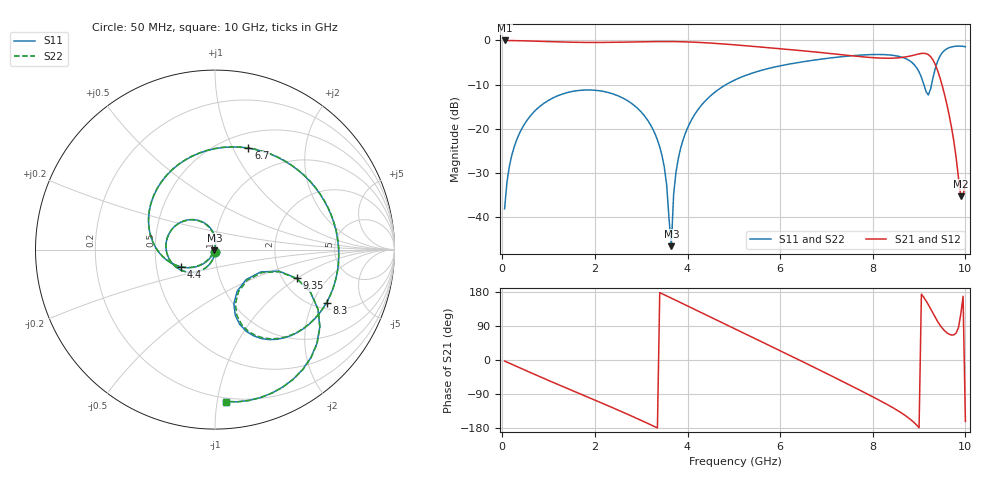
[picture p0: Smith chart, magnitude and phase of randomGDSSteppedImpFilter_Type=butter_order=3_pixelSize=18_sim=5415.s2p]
! freq	dB(S11)	phase(S11)	dB(S12)	phase(S12)
!  dB(S21)	phase(S21)	dB(S22)	phase(S22)
!S-par simulation data
#  GHz  S  DB  R 50
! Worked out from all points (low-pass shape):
!   200 points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, 50 MHz to 10 GHz, reference 50 ohm
!   highest |S21| = -0.01 dB at 50 MHz (marker M1); lowest = -35.3 dB at 9.9 GHz (marker M2)
!   |S21| within 3 dB of the highest: start of sweep to 7.121 GHz; 9.023 GHz to 9.154 GHz (131.5 MHz wide, 1.45 % of centre)
!   lowest |S11| = -46.6 dB at 3.65 GHz (marker M3), VSWR 1.01, Z = 49.7 - j0.327 ohm
!   |S11| at or under -10 dB: start of sweep to 4.834 GHz; 9.103 GHz to 9.269 GHz (166.4 MHz wide, 1.81 % of centre)
!   |S22| runs from -43.7 to -1.3 dB; largest |S21 - S12| = 0
!   S11 on the Smith chart (normalised r, x): 50 MHz: 1.00, -0.02; 4.4 GHz: 0.67, -0.14; 6.7 GHz: 0.66, +1.15; 8.3 GHz: 2.28, -2.56; 9.35 GHz: 2.38, -0.99; 10 GHz: 0.17, -1.06
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0.05  -38.17 -92.4  -0.01 -2.8  -0.01 -2.8  -38.16 -92.4
0.2  -26.26 -101.2  -0.03 -11.0  -0.03 -11.0  -26.26 -101.2
0.5  -18.63 -117.9  -0.10 -27.3  -0.10 -27.3  -18.63 -117.8
1.75  -11.26 176.3  -0.45 -93.0  -0.45 -93.0  -11.26 176.6
2.8  -14.34 121.1  -0.34 -148.3  -0.34 -148.3  -14.34 121.9
3.4  -24.16 88.5  -0.25 177.9  -0.25 177.9  -24.14 91.2
3.55  -32.81 82.8  -0.25 169.1  -0.25 169.1  -32.66 90.1
3.65  -46.65 -135.0  -0.26 163.3  -0.26 163.3  -43.70 -159.2
3.7  -34.89 -116.5  -0.26 160.3  -0.26 160.3  -34.63 -125.4
3.85  -24.49 -121.2  -0.29 151.5  -0.29 151.5  -24.46 -123.8
4.4  -13.52 -152.6  -0.53 118.8  -0.53 118.8  -13.52 -153.1
5.05  -8.82 169.2  -1.03 80.3  -1.03 80.3  -8.82 169.2
5.9  -5.99 119.3  -1.79 30.3  -1.79 30.3  -5.99 119.7
6.7  -4.51 71.7  -2.56 -17.3  -2.56 -17.3  -4.51 72.4
8.3  -3.25 -25.4  -4.04 -116.6  -4.04 -116.6  -3.24 -24.6
8.35  -3.28 -28.6  -4.04 -120.0  -4.04 -120.0  -3.28 -27.7
9.05  -8.34 -72.9  -2.95 173.9  -2.95 173.9  -8.27 -71.6
9.2  -12.37 -43.9  -3.22 145.9  -3.22 145.9  -12.12 -43.4
9.35  -6.34 -19.3  -5.47 112.2  -5.47 112.2  -6.28 -19.6
9.65  -1.64 -54.0  -16.95 68.0  -16.95 68.0  -1.63 -53.9
9.9  -1.29 -77.3  -35.33 120.5  -35.33 120.5  -1.29 -77.1
10  -1.42 -85.9  -32.42 -161.9  -32.42 -161.9  -1.42 -85.7
